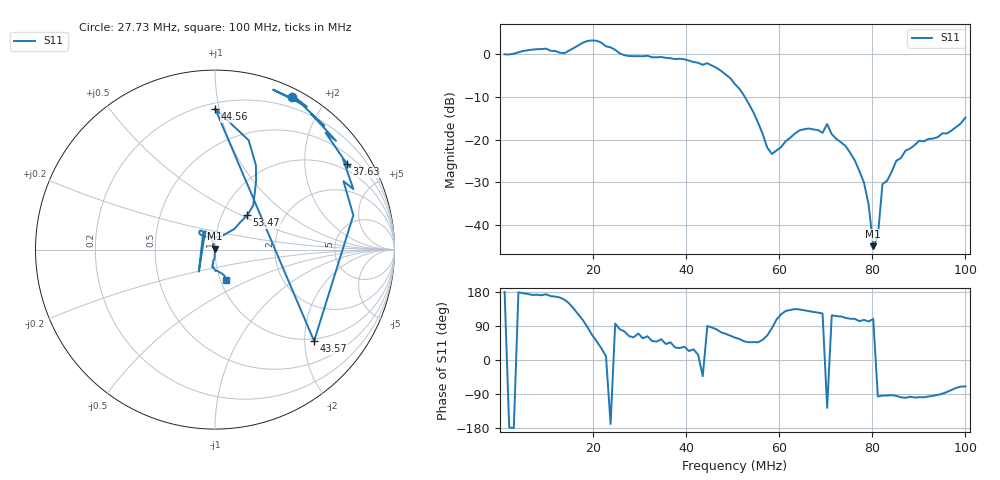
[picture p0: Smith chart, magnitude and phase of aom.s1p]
# HZ S RI R 50
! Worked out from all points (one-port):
!   101 points, 1 MHz to 100 MHz, reference 50 ohm
!   lowest |S11| = -45.0 dB at 80.2 MHz (marker M1), VSWR 1.01, Z = 49.8 + j0.533 ohm
!   |S11| at or under -10 dB: 52.61 MHz to end of sweep
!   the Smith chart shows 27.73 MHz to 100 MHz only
!   S11 on the Smith chart (normalised r, x): 27.73 MHz: 0.09, +1.63; 37.63 MHz: 0.78, +3.21; 43.57 MHz: 0.95, -2.21; 44.56 MHz: 0.24, +0.97; 53.47 MHz: 1.31, +0.54; 100 MHz: 1.07, -0.37
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1000000  -0.9971 0.0102
1.387e7  -0.9613 0.3687
1.684e7  -0.6378 1.095
1.882e7  0.0912 1.428
2.179e7  1.173 0.6987
2.278e7  1.218 0.2148
2.377e7  -1.18 -0.2325
2.476e7  -0.1189 1.121
2.575e7  0.1594 1.01
2.773e7  0.4306 0.8481
3.763e7  0.7356 0.4758
3.862e7  0.754 0.4609
4.258e7  0.7707 0.1913
4.357e7  0.5521 -0.5095
4.456e7  0.001 0.7846
5.05e7  0.2288 0.3818
5.347e7  0.1797 0.1915
5.842e7  0.00736 0.0674
6.337e7  -0.0825 0.0838
6.931e7  -0.065 0.1009
7.03e7  -0.09 -0.1228
7.525e7  -0.0226 0.0663
7.822e7  -0.00859 0.0301
8.02e7  -0.00179 0.00535
8.119e7  -0.000801 -0.00725
8.218e7  -0.00198 -0.03
8.812e7  -0.00941 -0.0779
1e8  0.0627 -0.17
